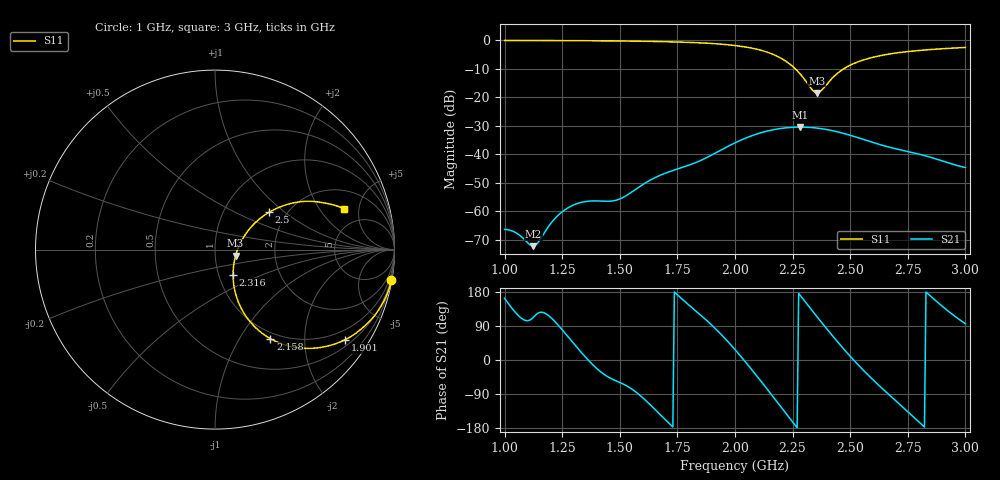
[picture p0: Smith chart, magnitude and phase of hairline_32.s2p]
! TOUCHSTONE file generated by CST MICROWAVE STUDIO
! Date and time: Tue Mar 18 20:31:49 2025
! Project name: hairline.cst
! Parameters = {B=12.5; D=160; F=25; Feed=2.85625; Fracture=1; L=100; M=30; R=0.384908; S=1.5; Theta=180; length=57.125; wave=114.25}
! Header version: 2024
! Port assignment regex: !\s*Touchstone port\s*([0-9]+)\s*=\s*(CST MWS port|CST DES external port|CST DES block port)\s*(.+)\s* \(\"(.*)\"\)(\s*mode\s*([0-9]+))?.*
! Touchstone port assignment:
! Touchstone port 1 = CST MWS port 1 ("")
! Touchstone port 2 = CST MWS port 2 ("")
# GHz S DB R 50
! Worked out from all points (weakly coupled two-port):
!   305 points, 1 GHz to 3 GHz, reference 50 ohm
!   highest |S21| = -30.44 dB at 2.283 GHz (marker M1); lowest = -72.2 dB at 1.125 GHz (marker M2)
!   lowest |S11| = -18.4 dB at 2.355 GHz (marker M3), VSWR 1.27, Z = 62.8 - j4.38 ohm
!   |S11| at or under -10 dB: 2.262 GHz to 2.471 GHz (209.4 MHz wide, 8.85 % of centre)
!   S12 and S22 are empty: the file has one direction only
!   S11 on the Smith chart (normalised r, x): 1 GHz: 0, -12; 1.901 GHz: 0.68, -3.06; 2.158 GHz: 0.91, -1.37; 2.316 GHz: 1.17, -0.34; 2.5 GHz: 1.63, +0.79; 3 GHz: 3.28, +3.44
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1  -0.02 -9.7  -66.35 162.8  -200.00 0.0  -200.00 0.0
1.05263  -0.03 -10.4  -67.68 121.7  -200.00 0.0  -200.00 0.0
1.125  -0.03 -11.5  -72.24 112.8  -200.00 0.0  -200.00 0.0
1.14474  -0.04 -11.8  -71.03 123.4  -200.00 0.0  -200.00 0.0
1.19737  -0.05 -12.6  -64.55 113.9  -200.00 0.0  -200.00 0.0
1.23684  -0.06 -13.3  -61.06 89.0  -200.00 0.0  -200.00 0.0
1.33553  -0.10 -15.1  -56.81 18.1  -200.00 0.0  -200.00 0.0
1.49342  -0.20 -18.6  -55.88 -57.6  -200.00 0.0  -200.00 0.0
1.67105  -0.40 -23.9  -47.50 -141.4  -200.00 0.0  -200.00 0.0
1.90132  -1.09 -34.7  -40.13 90.8  -200.00 0.0  -200.00 0.0
2  -1.81 -41.9  -35.96 27.5  -200.00 0.0  -200.00 0.0
2.15789  -4.67 -58.1  -31.50 -91.0  -200.00 0.0  -200.00 0.0
2.22368  -7.47 -64.7  -30.67 -142.8  -200.00 0.0  -200.00 0.0
2.28289  -11.78 -64.4  -30.44 170.7  -200.00 0.0  -200.00 0.0
2.31579  -15.25 -54.3  -30.51 145.1  -200.00 0.0  -200.00 0.0
2.33553  -17.38 -39.6  -30.62 129.8  -200.00 0.0  -200.00 0.0
2.35526  -18.43 -16.7  -30.78 114.7  -200.00 0.0  -200.00 0.0
2.375  -17.60 6.0  -30.99 99.7  -200.00 0.0  -200.00 0.0
2.44079  -11.83 33.2  -32.02 51.1  -200.00 0.0  -200.00 0.0
2.5  -8.70 34.6  -33.31 9.9  -200.00 0.0  -200.00 0.0
2.67105  -4.76 27.8  -37.51 -93.0  -200.00 0.0  -200.00 0.0
3  -2.48 17.7  -44.63 95.4  -200.00 0.0  -200.00 0.0
